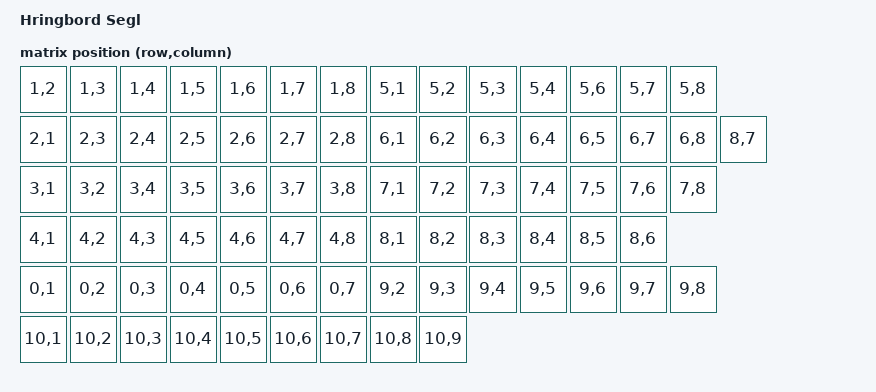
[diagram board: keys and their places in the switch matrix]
/*
 * SPDX-License-Identifier: MIT
 */

/dts-v1/;

#include <rpi_pico/rp2040.dtsi>
#include <dt-bindings/zmk/matrix_transform.h>
#include <zephyr/dt-bindings/gpio/gpio.h>

#include "segl-layouts.dtsi"

/ {
    model = "Hringbord Segl";
    compatible = "hringbord,segl";

    chosen {
        zephyr,sram = &sram0;
        zephyr,flash = &flash0;
        zephyr,flash-controller = &ssi;
        zephyr,code-partition = &code_partition;
        zmk,kscan = &kscan0;
        zmk,physical-layout = &physical_layout0;
    };

    xtal_clk: xtal-clk {
        compatible = "fixed-clock";
        clock-frequency = <12000000>;
        #clock-cells = <0>;
    };

    kscan0: kscan {
        compatible = "zmk,kscan-gpio-charlieplex";
        wakeup-source;
        debounce-press-ms = <15>;
        debounce-release-ms = <15>;
        gpios
            = <&gpio0 20 GPIO_ACTIVE_LOW>
            , <&gpio0 19 GPIO_ACTIVE_LOW>
            , <&gpio0 18 GPIO_ACTIVE_LOW>
            , <&gpio0 17 GPIO_ACTIVE_LOW>
            , <&gpio0 16 GPIO_ACTIVE_LOW>
            , <&gpio0 3 GPIO_ACTIVE_LOW>
            , <&gpio0 9 GPIO_ACTIVE_LOW>
            , <&gpio0 10 GPIO_ACTIVE_LOW>
            , <&gpio0 11 GPIO_ACTIVE_LOW>
            , <&gpio0 8 GPIO_ACTIVE_LOW>
            , <&gpio0 25 GPIO_ACTIVE_LOW>
            ;
    };

    default_transform: keymap_transform0 {
        compatible = "zmk,matrix-transform";
        rows = <11>;
        columns = <11>;
        map = <
            RC(1,2)  RC(1,3)  RC(1,4)  RC(1,5)  RC(1,6)  RC(1,7)  RC(1,8)  RC(5,1)  RC(5,2)  RC(5,3)  RC(5,4)  RC(5,6)  RC(5,7)  RC(5,8)
            RC(2,1)  RC(2,3)  RC(2,4)  RC(2,5)  RC(2,6)  RC(2,7)  RC(2,8)  RC(6,1)  RC(6,2)  RC(6,3)  RC(6,4)  RC(6,5)  RC(6,7)  RC(6,8)  RC(8,7)
            RC(3,1)  RC(3,2)  RC(3,4)  RC(3,5)  RC(3,6)  RC(3,7)  RC(3,8)  RC(7,1)  RC(7,2)  RC(7,3)  RC(7,4)  RC(7,5)  RC(7,6)  RC(7,8)
            RC(4,1)  RC(4,2)  RC(4,3)  RC(4,5)  RC(4,6)  RC(4,7)  RC(4,8)  RC(8,1)  RC(8,2)  RC(8,3)  RC(8,4)  RC(8,5)  RC(8,6)
            RC(0,1)  RC(0,2)  RC(0,3)  RC(0,4)  RC(0,5)  RC(0,6)  RC(0,7)  RC(9,2)  RC(9,3)  RC(9,4)  RC(9,5)  RC(9,6)  RC(9,7)  RC(9,8)
            RC(10,1) RC(10,2) RC(10,3) RC(10,4) RC(10,5) RC(10,6) RC(10,7) RC(10,8) RC(10,9)
        >;
    };

};

zephyr_udc0: &usbd {
    status = "okay";
};

&uart0 {
    status = "disabled";
};

&uart1 {
    status = "disabled";
};

&timer {
    status = "okay";
};

&gpio0 {
    status = "okay";
};

&flash0 {
    reg = <0x10000000 DT_SIZE_M(16)>;

    partitions {
        compatible = "fixed-partitions";
        #address-cells = <1>;
        #size-cells = <1>;

        code_partition: partition@100 {
            label = "code_partition";
            reg = <0x100 (DT_SIZE_M(16) - 0x100 - DT_SIZE_K(512))>;
        };

        storage_partition: partition@f80000 {
            label = "storage";
            reg = <0xF80000 DT_SIZE_K(512)>;
        };
    };
};
